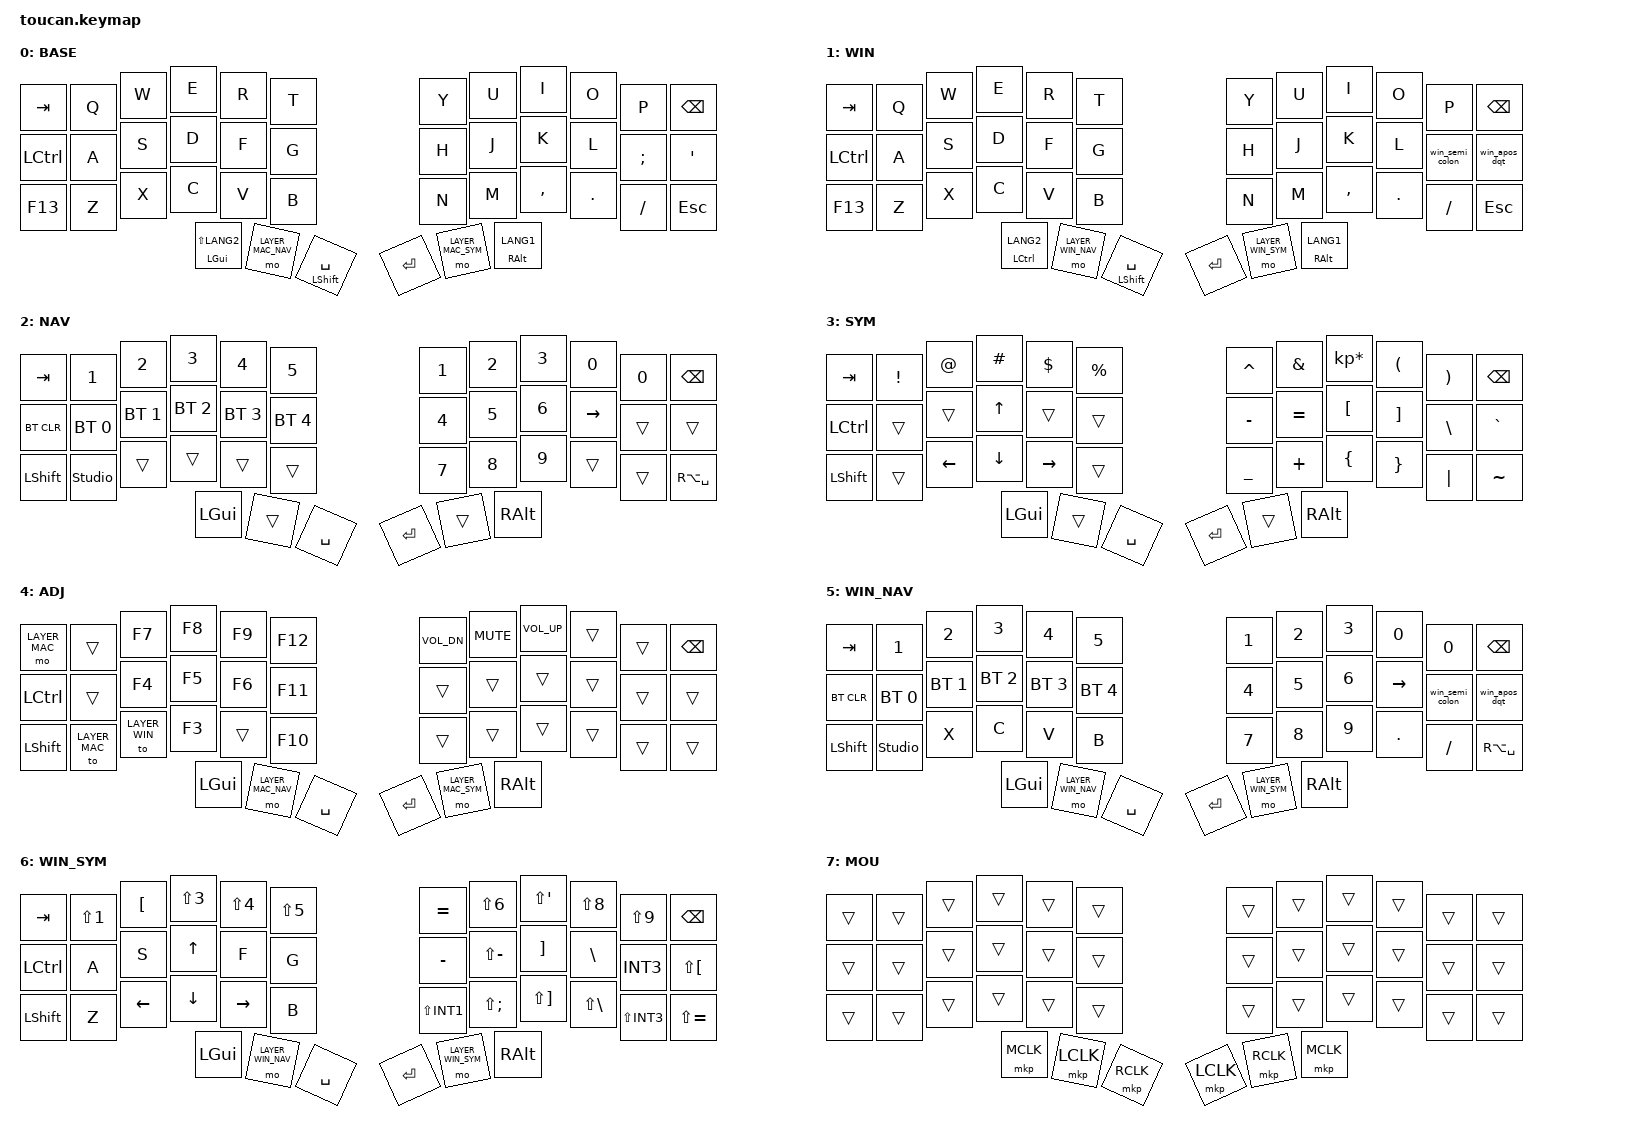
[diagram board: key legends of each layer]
#include <behaviors.dtsi>
#include <dt-bindings/zmk/bt.h>
#include <dt-bindings/zmk/keys.h>
#include <dt-bindings/zmk/modifiers.h>
#include <dt-bindings/zmk/pointing.h>

#define LAYER_MAC      0
#define LAYER_WIN      1
#define LAYER_MAC_NAV  2
#define LAYER_MAC_SYM  3
#define LAYER_ADJ      4
#define LAYER_WIN_NAV  5
#define LAYER_WIN_SYM  6
#define LAYER_MOUSE    7  // Toucan2: activated while touching the trackpad (see toucan.dtsi)

#define WIN_JIS_EXCL   LS(N1)
#define WIN_JIS_AT     LBKT
#define WIN_JIS_HASH   LS(N3)
#define WIN_JIS_DLLR   LS(N4)
#define WIN_JIS_PRCNT  LS(N5)
#define WIN_JIS_CARET  EQUAL
#define WIN_JIS_AMPS   LS(N6)
#define WIN_JIS_ASTRK  LS(SQT)
#define WIN_JIS_LPAR   LS(N8)
#define WIN_JIS_RPAR   LS(N9)
#define WIN_JIS_EQUAL  LS(MINUS)
#define WIN_JIS_LBKT   RBKT
#define WIN_JIS_RBKT   BSLH
#define WIN_JIS_BSLH   INT3
#define WIN_JIS_GRAVE  LS(LBKT)
#define WIN_JIS_UNDER  LS(INT1)
#define WIN_JIS_PLUS   LS(SEMI)
#define WIN_JIS_LBRC   LS(RBKT)
#define WIN_JIS_RBRC   LS(BSLH)
#define WIN_JIS_PIPE   LS(INT3)
#define WIN_JIS_TILDE  LS(EQUAL)
#define WIN_JIS_APOS   LS(N7)

/ {
    behaviors {
        win_semi_colon: win_semi_colon {
            compatible = "zmk,behavior-mod-morph";
            #binding-cells = <0>;
            bindings = <&kp SEMI>, <&kp SQT>;
            mods = <(MOD_LSFT|MOD_RSFT)>;
        };

        win_apos_dqt: win_apos_dqt {
            compatible = "zmk,behavior-mod-morph";
            #binding-cells = <0>;
            bindings = <&kp WIN_JIS_APOS>, <&kp LS(N2)>;
            mods = <(MOD_LSFT|MOD_RSFT)>;
        };
    };

    conditional_layers {
        compatible = "zmk,conditional-layers";

        mac_tri_layer {
            if-layers = <LAYER_MAC_NAV LAYER_MAC_SYM>;
            then-layer = <LAYER_ADJ>;
        };

        win_tri_layer {
            if-layers = <LAYER_WIN_NAV LAYER_WIN_SYM>;
            then-layer = <LAYER_ADJ>;
        };
    };

    combos {
        compatible = "zmk,combos";

        rightclick {
            bindings = <&mkp RCLK>;
            key-positions = <20 21>;
        };

        leftclick {
            bindings = <&mkp LCLK>;
            key-positions = <19 18>;
        };

        // Mac-specific combos

        returninbrows_mac {
            bindings = <&kp LG(LEFT_BRACKET)>;
            key-positions = <14 15>;
            layers = <LAYER_MAC>;
        };

        goahead_mac {
            bindings = <&kp RG(RIGHT_BRACKET)>;
            key-positions = <17 16>;
            layers = <LAYER_MAC>;
        };

        screenshot_mac {
            bindings = <&kp LG(LS(LC(NUMBER_4)))>;
            key-positions = <0 1>;
            layers = <LAYER_MAC>;
        };

        reloadingbrows_mac {
            bindings = <&kp LG(R)>;
            key-positions = <15 16>;
            layers = <LAYER_MAC>;
        };

        controlcenter_mac {
            bindings = <&kp LC(UP_ARROW)>;
            key-positions = <26 27>;
            layers = <LAYER_MAC>;
        };

        // Windows-specific combos

        returninbrows_win {
            bindings = <&kp K_BACK>;
            key-positions = <14 15>;
            layers = <LAYER_WIN>;
        };

        goahead_win {
            bindings = <&kp K_FORWARD>;
            key-positions = <17 16>;
            layers = <LAYER_WIN>;
        };

        screenshot_win {
            bindings = <&kp LG(LS(S))>;
            key-positions = <0 1>;
            layers = <LAYER_WIN>;
        };

        reloadingbrows_win {
            bindings = <&kp F5>;
            key-positions = <15 16>;
            layers = <LAYER_WIN>;
        };

        taskview_win {
            bindings = <&kp LG(TAB)>;
            key-positions = <26 27>;
            layers = <LAYER_WIN>;
        };

        // Common combos (work on both layers)

        minus {
            bindings = <&kp MINUS>;
            key-positions = <9 10>;
        };

        controlleft {
            bindings = <&kp LC(LEFT_ARROW)>;
            key-positions = <12 13>;
            layers = <LAYER_MAC>;
        };

        controlright {
            bindings = <&kp LC(RIGHT_ARROW)>;
            key-positions = <29 28>;
            layers = <LAYER_MAC>;
        };

        controlleft_win {
            bindings = <&kp LG(LC(LEFT_ARROW))>;
            key-positions = <12 13>;
            layers = <LAYER_WIN>;
        };

        controlright_win {
            bindings = <&kp LG(LC(RIGHT_ARROW))>;
            key-positions = <29 28>;
            layers = <LAYER_WIN>;
        };
    };

    keymap {
        compatible = "zmk,keymap";

        base {
            display-name = "BASE";
            bindings = <
&kp TAB  &kp Q  &kp W  &kp E  &kp R  &kp T  &kp Y  &kp U  &kp I  &kp O  &kp P  &kp BSPC  &kp LCTRL  &kp A  &kp S  &kp D  &kp F  &kp G  &kp H  &kp J  &kp K  &kp L  &kp SEMI  &kp SQT  &kp F13  &kp Z  &kp X  &kp C  &kp V  &kp B  &kp N  &kp M  &kp COMMA  &kp DOT  &kp FSLH  &kp ESCAPE  &mt LEFT_GUI LS(LANG2)  &mo LAYER_MAC_NAV  &mt LEFT_SHIFT SPACE  &kp RET  &mo LAYER_MAC_SYM  &mt RIGHT_ALT LANG1
            >;
        };

        win {
            display-name = "WIN";
            bindings = <
&kp TAB  &kp Q  &kp W  &kp E  &kp R  &kp T  &kp Y  &kp U  &kp I  &kp O  &kp P  &kp BSPC  &kp LCTRL  &kp A  &kp S  &kp D  &kp F  &kp G  &kp H  &kp J  &kp K  &kp L  &win_semi_colon  &win_apos_dqt  &kp F13  &kp Z  &kp X  &kp C  &kp V  &kp B  &kp N  &kp M  &kp COMMA  &kp DOT  &kp FSLH  &kp ESCAPE  &mt LCTRL LANG2  &mo LAYER_WIN_NAV  &mt LEFT_SHIFT SPACE  &kp RET  &mo LAYER_WIN_SYM  &mt RIGHT_ALT LANG1
            >;
        };

        mac_nav {
            display-name = "NAV";
            bindings = <
&kp TAB  &kp N1  &kp N2  &kp N3  &kp N4  &kp N5  &kp N1  &kp N2  &kp N3  &kp N0  &kp N0  &kp BSPC  &bt BT_CLR  &bt BT_SEL 0  &bt BT_SEL 1  &bt BT_SEL 2  &bt BT_SEL 3  &bt BT_SEL 4  &kp N4  &kp N5  &kp NUMBER_6  &kp RIGHT  &trans  &trans  &kp LSHFT  &studio_unlock  &trans  &trans  &trans  &trans  &kp N7  &kp N8  &kp N9  &trans  &trans  &kp RA(SPACE)  &kp LGUI  &trans  &kp SPACE  &kp RET  &trans  &kp RALT
            >;
        };

        mac_sym {
            display-name = "SYM";
            bindings = <
&kp TAB  &kp EXCL  &kp AT  &kp HASH  &kp DLLR  &kp PRCNT  &kp CARET  &kp AMPS  &kp KP_MULTIPLY  &kp LPAR  &kp RPAR  &kp BSPC  &kp LCTRL  &trans  &trans  &kp UP_ARROW  &trans  &trans  &kp MINUS  &kp EQUAL  &kp LBKT  &kp RBKT  &kp BSLH  &kp GRAVE  &kp LSHFT  &trans  &kp LEFT_ARROW  &kp DOWN_ARROW  &kp RIGHT_ARROW  &trans  &kp UNDER  &kp PLUS  &kp LBRC  &kp RBRC  &kp PIPE  &kp TILDE  &kp LGUI  &trans  &kp SPACE  &kp RET  &trans  &kp RALT
            >;
        };

        adj {
            display-name = "ADJ";
            bindings = <
&mo LAYER_MAC  &trans  &kp F7  &kp F8  &kp F9  &kp F12  &kp C_VOL_DN  &kp C_MUTE  &kp C_VOL_UP  &trans  &trans  &kp BSPC  &kp LCTRL  &trans  &kp F4  &kp F5  &kp F6  &kp F11  &trans  &trans  &trans  &trans  &trans  &trans  &kp LSHFT  &to LAYER_MAC  &to LAYER_WIN  &kp F3  &trans  &kp F10  &trans  &trans  &trans  &trans  &trans  &trans  &kp LGUI  &mo LAYER_MAC_NAV  &kp SPACE  &kp RET  &mo LAYER_MAC_SYM  &kp RALT
            >;
        };

        win_nav {
            display-name = "WIN_NAV";
            bindings = <
&kp TAB  &kp N1  &kp N2  &kp N3  &kp N4  &kp N5  &kp N1  &kp N2  &kp N3  &kp N0  &kp N0  &kp BSPC  &bt BT_CLR  &bt BT_SEL 0  &bt BT_SEL 1  &bt BT_SEL 2  &bt BT_SEL 3  &bt BT_SEL 4  &kp N4  &kp N5  &kp NUMBER_6  &kp RIGHT  &win_semi_colon  &win_apos_dqt  &kp LSHFT  &studio_unlock  &kp X  &kp C  &kp V  &kp B  &kp N7  &kp N8  &kp N9  &kp DOT  &kp FSLH  &kp RA(SPACE)  &kp LGUI  &mo LAYER_WIN_NAV  &kp SPACE  &kp RET  &mo LAYER_WIN_SYM  &kp RALT
            >;
        };

        win_sym {
            display-name = "WIN_SYM";
            bindings = <
&kp TAB  &kp WIN_JIS_EXCL  &kp WIN_JIS_AT  &kp WIN_JIS_HASH  &kp WIN_JIS_DLLR  &kp WIN_JIS_PRCNT  &kp WIN_JIS_CARET  &kp WIN_JIS_AMPS  &kp WIN_JIS_ASTRK  &kp WIN_JIS_LPAR  &kp WIN_JIS_RPAR  &kp BSPC  &kp LCTRL  &kp A  &kp S  &kp UP_ARROW  &kp F  &kp G  &kp MINUS  &kp WIN_JIS_EQUAL  &kp WIN_JIS_LBKT  &kp WIN_JIS_RBKT  &kp WIN_JIS_BSLH  &kp WIN_JIS_GRAVE  &kp LSHFT  &kp Z  &kp LEFT_ARROW  &kp DOWN_ARROW  &kp RIGHT_ARROW  &kp B  &kp WIN_JIS_UNDER  &kp WIN_JIS_PLUS  &kp WIN_JIS_LBRC  &kp WIN_JIS_RBRC  &kp WIN_JIS_PIPE  &kp WIN_JIS_TILDE  &kp LGUI  &mo LAYER_WIN_NAV  &kp SPACE  &kp RET  &mo LAYER_WIN_SYM  &kp RALT
            >;
        };

        mouse {
            display-name = "MOU";
            bindings = <
&trans  &trans  &trans  &trans  &trans  &trans  &trans  &trans  &trans  &trans  &trans  &trans  &trans  &trans  &trans  &trans  &trans  &trans  &trans  &trans  &trans  &trans  &trans  &trans  &trans  &trans  &trans  &trans  &trans  &trans  &trans  &trans  &trans  &trans  &trans  &trans  &mkp MCLK  &mkp LCLK  &mkp RCLK  &mkp LCLK  &mkp RCLK  &mkp MCLK
            >;
        };

        extra_2 { status = "reserved"; };

        extra_3 { status = "reserved"; };
    };
};
